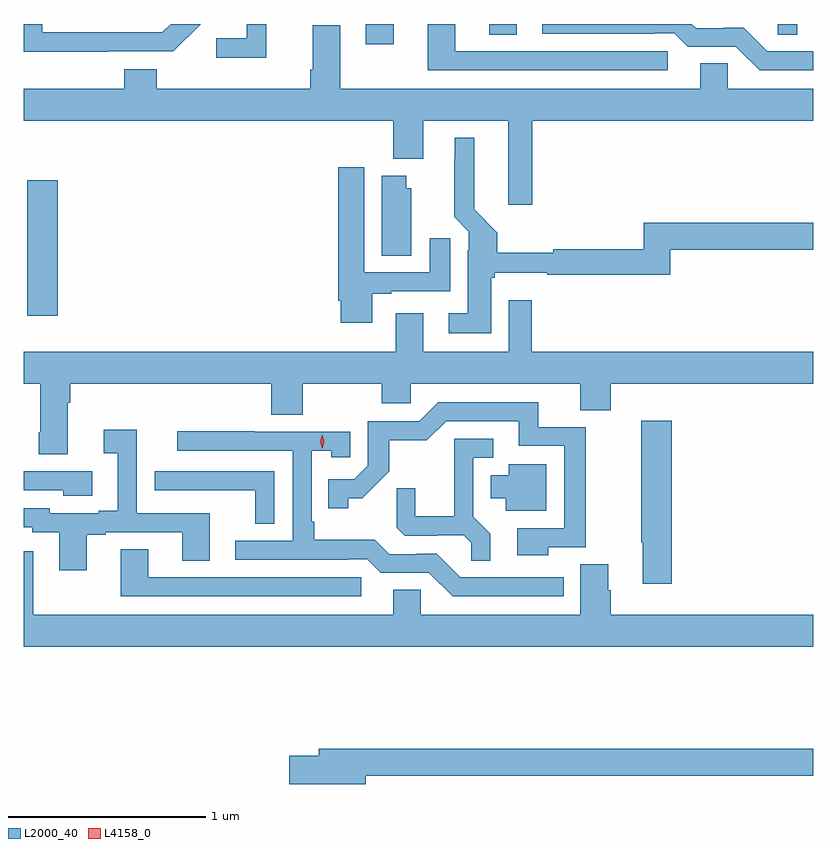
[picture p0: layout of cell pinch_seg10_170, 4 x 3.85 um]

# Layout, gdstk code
import gdstk
lib = gdstk.Library(unit=1e-6, precision=1e-09)
def R(c, l, rs):  # rectangles x0, y0, x1, y1
    for r in rs: c.add(gdstk.rectangle(r[:2], r[2:], *l))
def P(c, l, *ps):  # polygons
    for p in ps: c.add(gdstk.Polygon(p, *l))
L2000_40 = (2000, 40)
L4158_0 = (4158, 0)

pinch_seg10_170 = lib.new_cell('pinch_seg10_170')
R(pinch_seg10_170, L2000_40, [(681.491,1259.37,681.647,1260.055), (683.207,1260.744,683.347,1260.847), (683.831,1260.793,683.971,1260.847), (685.293,1260.793,685.391,1260.847)])
P(pinch_seg10_170, L2000_40, [(684.736,1260.708),(683.659,1260.708),(683.659,1260.847),(683.519,1260.847),(683.519,1260.612),(684.736,1260.612)],
  [(682.701,1260.847),(682.602,1260.847),(682.602,1260.775),(682.449,1260.775),(682.449,1260.677),(682.701,1260.677)],
  [(681.899,1260.708),(682.23,1260.708),(682.369,1260.847),(682.219,1260.847),(682.176,1260.804),(681.567,1260.804),(681.567,1260.847),(681.473,1260.847),(681.473,1260.707),(681.899,1260.707)],
  [(685.473,1260.708),(685.239,1260.708),(685.119,1260.828),(685.018,1260.828),(685.018,1260.825),(684.879,1260.825),(684.857,1260.847),(684.099,1260.847),(684.099,1260.798),(684.668,1260.798),(684.668,1260.801),(684.768,1260.801),(684.837,1260.732),(685.08,1260.732),(685.2,1260.612),(685.473,1260.612)],
  [(684.05,1260.356),(685.473,1260.356),(685.473,1260.52),(685.038,1260.52),(685.038,1260.647),(684.899,1260.647),(684.899,1260.52),(683.077,1260.52),(683.077,1260.841),(682.937,1260.841),(682.937,1260.616),(682.925,1260.616),(682.925,1260.52),(682.148,1260.52),(682.148,1260.619),(681.983,1260.619),(681.983,1260.52),(681.473,1260.52),(681.473,1260.356),(683.345,1260.356),(683.345,1260.164),(683.497,1260.164),(683.497,1260.356),(683.927,1260.356),(683.927,1259.931),(684.05,1259.931)],
  [(683.842,1259.562),(683.86,1259.562),(683.86,1259.588),(684.124,1259.588),(684.124,1259.577),(684.749,1259.577),(684.749,1259.704),(685.473,1259.704),(685.473,1259.84),(684.613,1259.84),(684.613,1259.705),(684.156,1259.705),(684.156,1259.688),(683.873,1259.688),(683.873,1259.79),(683.755,1259.908),(683.755,1260.271),(683.657,1260.271),(683.657,1260.161),(683.653,1260.161),(683.653,1259.87),(683.727,1259.796),(683.727,1259.702),(683.723,1259.702),(683.723,1259.383),(683.625,1259.383),(683.625,1259.282),(683.842,1259.282)],
  [(683.239,1259.481),(683.335,1259.481),(683.335,1259.493),(683.635,1259.493),(683.635,1259.761),(683.531,1259.761),(683.531,1259.589),(683.197,1259.589),(683.197,1260.121),(683.066,1260.121),(683.066,1259.446),(683.078,1259.446),(683.078,1259.334),(683.239,1259.334)],
  [(683.437,1260.015),(683.41,1260.015),(683.41,1260.079),(683.288,1260.079),(683.288,1259.674),(683.437,1259.674)],
  [(681.697,1258.928),(681.71,1258.928),(681.71,1259.024),(682.727,1259.024),(682.727,1258.867),(682.887,1258.867),(682.887,1259.024),(683.287,1259.024),(683.287,1258.926),(683.433,1258.926),(683.433,1259.024),(684.293,1259.024),(684.293,1258.891),(684.446,1258.891),(684.446,1259.024),(685.473,1259.024),(685.473,1259.188),(684.047,1259.188),(684.047,1259.449),(683.931,1259.449),(683.931,1259.188),(683.497,1259.188),(683.497,1259.383),(683.357,1259.383),(683.357,1259.188),(681.473,1259.188),(681.473,1259.024),(681.557,1259.024),(681.557,1258.78),(681.55,1258.78),(681.55,1258.668),(681.697,1258.668)],
  [(684.129,1258.197),(684.319,1258.197),(684.319,1258.806),(684.08,1258.806),(684.08,1258.932),(683.574,1258.932),(683.478,1258.836),(683.217,1258.836),(683.217,1258.611),(683.148,1258.542),(683.017,1258.542),(683.017,1258.395),(683.118,1258.395),(683.118,1258.445),(683.188,1258.445),(683.326,1258.582),(683.326,1258.738),(683.515,1258.738),(683.613,1258.836),(683.981,1258.836),(683.981,1258.71),(684.21,1258.71),(684.21,1258.293),(683.973,1258.293),(683.973,1258.157),(684.129,1258.157)],
  [(684.755,1258.837),(684.601,1258.837),(684.601,1258.223),(684.608,1258.223),(684.608,1258.011),(684.755,1258.011)],
  [(681.793,1258.26),(681.889,1258.26),(681.889,1258.272),(682.277,1258.272),(682.277,1258.129),(682.417,1258.129),(682.417,1258.368),(682.047,1258.368),(682.047,1258.792),(681.879,1258.792),(681.879,1258.672),(681.95,1258.672),(681.95,1258.381),(681.854,1258.381),(681.854,1258.368),(681.606,1258.368),(681.606,1258.395),(681.473,1258.395),(681.473,1258.299),(681.516,1258.299),(681.516,1258.272),(681.653,1258.272),(681.653,1258.08),(681.793,1258.08)],
  [(684.208,1258.044),(683.685,1258.044),(683.565,1258.164),(683.464,1258.164),(683.464,1258.161),(683.325,1258.161),(683.252,1258.234),(682.945,1258.234),(682.945,1258.327),(682.932,1258.327),(682.932,1258.685),(683.031,1258.685),(683.031,1258.653),(683.127,1258.653),(683.127,1258.782),(682.643,1258.782),(682.643,1258.785),(682.251,1258.785),(682.251,1258.686),(682.836,1258.686),(682.836,1258.23),(682.545,1258.23),(682.545,1258.134),(683.114,1258.134),(683.114,1258.137),(683.214,1258.137),(683.283,1258.068),(683.526,1258.068),(683.646,1257.948),(684.208,1257.948)],
  [(683.837,1258.265),(683.751,1258.351),(683.751,1258.65),(683.851,1258.65),(683.851,1258.746),(683.654,1258.746),(683.654,1258.354),(683.456,1258.354),(683.456,1258.497),(683.362,1258.497),(683.362,1258.295),(683.403,1258.254),(683.568,1258.254),(683.568,1258.257),(683.702,1258.257),(683.739,1258.22),(683.739,1258.129),(683.837,1258.129)],
  [(684.121,1258.618),(683.93,1258.618),(683.93,1258.561),(683.84,1258.561),(683.84,1258.445),(683.915,1258.445),(683.915,1258.382),(684.121,1258.382)],
  [(681.82,1258.581),(681.473,1258.581),(681.473,1258.485),(681.675,1258.485),(681.675,1258.457),(681.82,1258.457)],
  [(682.743,1258.581),(682.137,1258.581),(682.137,1258.486),(682.249,1258.486),(682.249,1258.485),(682.645,1258.485),(682.645,1258.315),(682.743,1258.315)],
  [(683.182,1258.044),(682.105,1258.044),(682.105,1258.187),(681.965,1258.187),(681.965,1257.948),(683.182,1257.948)],
  [(685.473,1257.856),(684.446,1257.856),(684.446,1257.978),(684.433,1257.978),(684.433,1258.112),(684.293,1258.112),(684.293,1257.856),(683.484,1257.856),(683.484,1257.983),(683.345,1257.983),(683.345,1257.856),(681.523,1257.856),(681.523,1258.177),(681.473,1258.177),(681.473,1257.692),(685.473,1257.692)],
  [(683.206,1257.04),(685.473,1257.04),(685.473,1257.176),(682.967,1257.176),(682.967,1257.14),(682.818,1257.14),(682.818,1256.998),(683.206,1256.998)])
P(pinch_seg10_170, L4158_0, [(682.986,1258.695),(682.986,1258.695),(682.976,1258.731),(682.986,1258.766),(682.986,1258.767),(682.986,1258.766),(682.996,1258.731),(682.986,1258.695)])

lib.write_gds('pinch_seg10_170.gds')
